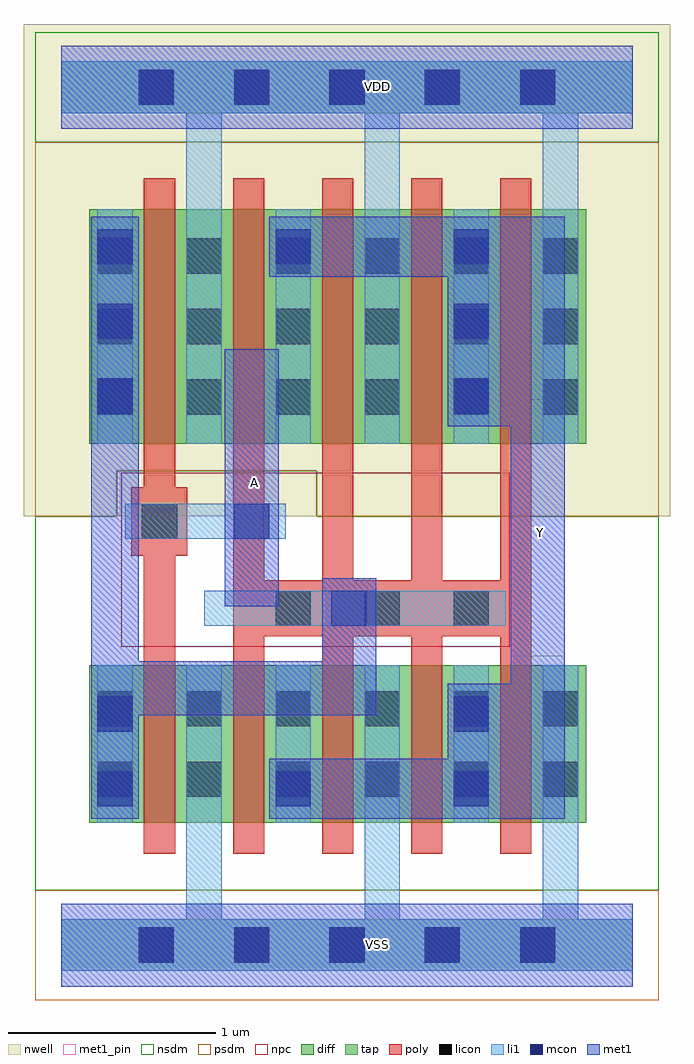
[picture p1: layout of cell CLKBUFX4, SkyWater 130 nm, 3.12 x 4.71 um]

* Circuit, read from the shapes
.subckt CLKBUFX4 A VDD VSS Y
XM1 VSS A n1 VSS sky130_fd_pr__nfet_01v8 w=0.76 l=0.15
XM2 Y n1 VSS VSS sky130_fd_pr__nfet_01v8 w=0.76 l=0.15 m=4
XM3 VDD A n1 VDD sky130_fd_pr__pfet_01v8 w=1.13 l=0.15
XM4 Y n1 VDD VDD sky130_fd_pr__pfet_01v8 w=1.13 l=0.15 m=4
.ends

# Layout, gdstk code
from math import pi, radians
import gdstk
lib = gdstk.Library(unit=1e-6, precision=1e-09)
def R(c, l, rs):  # rectangles x0, y0, x1, y1
    for r in rs: c.add(gdstk.rectangle(r[:2], r[2:], *l))
def A(c, l, x, y, w, h, nx, ny, dx, dy):  # array of equal rectangles
    R(c, l, [(x+i*dx, y+j*dy, x+i*dx+w, y+j*dy+h) for i in range(nx) for j in range(ny)])
def P(c, l, *ps):  # polygons
    for p in ps: c.add(gdstk.Polygon(p, *l))
nwell = (64, 20)
diff = (65, 20)
tap = (65, 44)
poly = (66, 20)
licon = (66, 44)
li1 = (67, 20)
mcon = (67, 44)
met1_pin = (68, 16)
met1 = (68, 20)
nsdm = (93, 44)
psdm = (94, 20)
npc = (95, 20)

l1m1_c_cdns_751554744750 = lib.new_cell('L1M1_C_CDNS_751554744750')
R(l1m1_c_cdns_751554744750, li1, [(-0.165,-0.085,0.165,0.085)])
R(l1m1_c_cdns_751554744750, mcon, [(-0.085,-0.085,0.085,0.085)])
R(l1m1_c_cdns_751554744750, met1, [(-0.115,-0.145,0.115,0.145)])

l1m1_c_cdns_751554744753 = lib.new_cell('L1M1_C_CDNS_7515547447531')
R(l1m1_c_cdns_751554744753, li1, [(-0.085,-0.165,0.085,0.165)])
R(l1m1_c_cdns_751554744753, mcon, [(-0.085,-0.085,0.085,0.085)])
R(l1m1_c_cdns_751554744753, met1, [(-0.455,-0.13,0.145,0.13)])

pyl1con_c_cdns_751554744 = lib.new_cell('PYL1CON_C_CDNS_751554744751')
R(pyl1con_c_cdns_751554744, poly, [(-0.135,-0.165,0.135,0.165)])
R(pyl1con_c_cdns_751554744, licon, [(-0.085,-0.085,0.085,0.085)])
R(pyl1con_c_cdns_751554744, npc, [(-0.185,-0.185,0.185,0.185)])

l1m1_c_cdns_751554744757 = lib.new_cell('L1M1_C_CDNS_751554744757')
R(l1m1_c_cdns_751554744757, li1, [(-0.085,-0.525,0.085,0.525)])
A(l1m1_c_cdns_751554744757, mcon, -0.085, -0.445, 0.17, 0.17, 1, 3, 0, 0.36)
R(l1m1_c_cdns_751554744757, met1, [(-0.115,-0.505,0.115,0.505)])

l1m1_c_cdns_751554744752 = lib.new_cell('L1M1_C_CDNS_751554744752')
R(l1m1_c_cdns_751554744752, li1, [(-0.085,-0.345,0.085,0.345)])
R(l1m1_c_cdns_751554744752, mcon, [(-0.085,-0.265,0.085,-0.095), (-0.085,0.095,0.085,0.265)])
R(l1m1_c_cdns_751554744752, met1, [(-0.115,-0.325,0.115,0.325)])

c_l1m1_c_cdns_751554744753 = lib.new_cell('L1M1_C_CDNS_751554744753')
R(c_l1m1_c_cdns_751554744753, li1, [(-0.085,-0.165,0.085,0.165)])
R(c_l1m1_c_cdns_751554744753, mcon, [(-0.085,-0.085,0.085,0.085)])
R(c_l1m1_c_cdns_751554744753, met1, [(-0.115,-0.145,0.115,0.145)])

clkbufx4 = lib.new_cell('CLKBUFX4')
R(clkbufx4, nwell, [(-0.18,2.07,2.94,4.445)])
R(clkbufx4, diff, [(0.135,0.59,2.535,1.35), (0.135,2.42,2.535,3.55)])
A(clkbufx4, poly, 0.4, 0.44, 0.15, 3.26, 5, 1, 0.43, 0)
A(clkbufx4, licon, 0.375, -0.085, 0.17, 0.17, 5, 2, 0.46, 4.14)
A(clkbufx4, licon, 0.175, 0.715, 0.17, 0.17, 6, 2, 0.43, 0.34)
A(clkbufx4, licon, 0.175, 2.56, 0.17, 0.17, 6, 3, 0.43, 0.34)
A(clkbufx4, li1, 0.175, 0.59, 0.17, 0.76, 3, 1, 0.86, 0)
A(clkbufx4, li1, 0.175, 2.42, 0.17, 1.13, 3, 1, 0.86, 0)
P(clkbufx4, li1, [(2.76,0.125),(2.495,0.125),(2.495,1.35),(2.325,1.35),(2.325,0.125),(1.635,0.125),(1.635,1.35),(1.465,1.35),(1.465,0.125),(0.775,0.125),(0.775,1.35),(0.605,1.35),(0.605,0.125),(0,0.125),(0,-0.125),(2.76,-0.125)],
  [(2.76,4.265),(0,4.265),(0,4.015),(0.605,4.015),(0.605,2.42),(0.775,2.42),(0.775,4.015),(1.465,4.015),(1.465,2.42),(1.635,2.42),(1.635,4.015),(2.325,4.015),(2.325,2.42),(2.495,2.42),(2.495,4.015),(2.76,4.015)])
A(clkbufx4, mcon, 0.375, -0.085, 0.17, 0.17, 5, 2, 0.46, 4.14)
R(clkbufx4, met1_pin, [(2.17,1.395,2.43,2.635), (0.79,1.635,1.05,2.875)])
P(clkbufx4, met1, [(1.52,1.625),(1.26,1.625),(1.26,1.37),(0.375,1.37),(0.375,3.01),(0.145,3.01),(0.145,1.11),(1.52,1.11)],
  [(2.43,3.515),(1.12,3.515),(1.12,3.225),(1.865,3.225),(1.865,2.505),(2.17,2.505),(2.17,1.26),(1.865,1.26),(1.865,0.9),(1.12,0.9),(1.12,0.61),(2.43,0.61)])
R(clkbufx4, nsdm, [(-0.125,3.875,2.885,4.405)])
P(clkbufx4, nsdm, [(2.885,2.07),(1.235,2.07),(1.235,2.29),(0.27,2.29),(0.27,2.07),(-0.125,2.07),(-0.125,0.265),(2.885,0.265)])
R(clkbufx4, psdm, [(-0.125,-0.265,2.885,0.265)])
P(clkbufx4, psdm, [(2.885,3.875),(-0.125,3.875),(-0.125,2.07),(0.27,2.07),(0.27,2.29),(1.235,2.29),(1.235,2.07),(2.885,2.07)])
R(clkbufx4, npc, [(0.29,1.44,2.165,2.28)])
clkbufx4.add(gdstk.FlexPath([(0.69,1.625),(2.145,1.625)], 0.17, ends="flush", simple_path=True, layer=67, datatype=20))  # li1
clkbufx4.add(gdstk.FlexPath([(0.31,2.045),(0.92,2.045)], 0.17, ends="flush", simple_path=True, layer=67, datatype=20))  # li1
clkbufx4.add(gdstk.FlexPath([(0.92,1.635),(0.92,2.875)], 0.26, ends="flush", simple_path=True, layer=68, datatype=20))  # met1
clkbufx4.add(gdstk.FlexPath([(0,4.14),(2.76,4.14)], 0.4, ends="flush", simple_path=True, layer=68, datatype=20))  # met1
clkbufx4.add(gdstk.FlexPath([(0,0),(2.76,0)], 0.4, ends="flush", simple_path=True, layer=68, datatype=20))  # met1
clkbufx4.add(gdstk.FlexPath([(0,4.14),(2.76,4.14)], 0.25, ends="flush", simple_path=True, layer=65, datatype=44))  # tap
clkbufx4.add(gdstk.FlexPath([(0,0),(2.76,0)], 0.25, ends="flush", simple_path=True, layer=65, datatype=44))  # tap
clkbufx4.add(gdstk.FlexPath([(0,4.14),(2.76,4.14)], 0.4, ends="flush", simple_path=True, layer=68, datatype=16))  # met1_pin
clkbufx4.add(gdstk.FlexPath([(0,0),(2.76,0)], 0.4, ends="flush", simple_path=True, layer=68, datatype=16))  # met1_pin
clkbufx4.add(gdstk.Reference(l1m1_c_cdns_751554744750, (0.92,2.045), x_reflection=True))
clkbufx4.add(gdstk.Reference(l1m1_c_cdns_751554744753, (1.39,1.625), rotation=pi/2))
clkbufx4.add(gdstk.Reference(pyl1con_c_cdns_751554744, (1.55,1.625), rotation=pi/2))
clkbufx4.add(gdstk.Reference(pyl1con_c_cdns_751554744, (1.12,1.625), rotation=pi/2))
clkbufx4.add(gdstk.Reference(pyl1con_c_cdns_751554744, (1.98,1.625), rotation=pi/2))
clkbufx4.add(gdstk.Reference(pyl1con_c_cdns_751554744, (0.475,2.045), rotation=pi, x_reflection=True))
clkbufx4.add(gdstk.Reference(l1m1_c_cdns_751554744757, (1.98,3.01)))
clkbufx4.add(gdstk.Reference(l1m1_c_cdns_751554744757, (0.26,3.01)))
clkbufx4.add(gdstk.Reference(l1m1_c_cdns_751554744752, (1.98,0.935)))
clkbufx4.add(gdstk.Reference(l1m1_c_cdns_751554744752, (0.26,0.935)))
clkbufx4.add(gdstk.Reference(c_l1m1_c_cdns_751554744753, (1.12,3.37)))
clkbufx4.add(gdstk.Reference(c_l1m1_c_cdns_751554744753, (1.12,0.755)))
clkbufx4.add(gdstk.Label('VDD', (1.525,4.145), layer=68, texttype=5))
clkbufx4.add(gdstk.Label('VDD', (1.525,4.145), layer=68, texttype=5))
clkbufx4.add(gdstk.Label('A', (0.935,2.23), layer=68, texttype=5))
clkbufx4.add(gdstk.Label('VSS', (1.525,0.005), layer=68, texttype=5))
clkbufx4.add(gdstk.Label('Y', (2.315,1.99), layer=68, texttype=5))

lib.write_gds('CLKBUFX4.gds')
